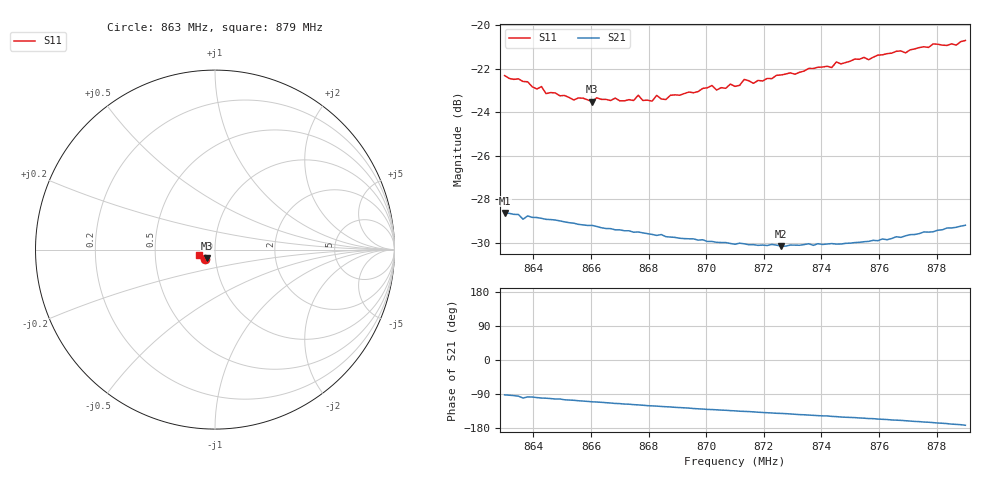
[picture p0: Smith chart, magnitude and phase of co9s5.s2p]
# HZ S RI R 50
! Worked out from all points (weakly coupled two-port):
!   101 points, 863 MHz to 879 MHz, reference 50 ohm
!   highest |S21| = -28.63 dB at 863 MHz (marker M1); lowest = -30.2 dB at 872.6 MHz (marker M2)
!   lowest |S11| = -23.5 dB at 866.04 MHz (marker M3), VSWR 1.14, Z = 45.4 - j4.43 ohm
!   |S11| at or under -10 dB: start of sweep to end of sweep
!   S12 and S22 are empty: the file has one direction only
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8.63e8  -0.0562 -0.0521  -0.00131 -0.037  0 0  0 0
8.6412e8  -0.0513 -0.0496  -0.00574 -0.0357  0 0  0 0
8.6428e8  -0.0511 -0.0512  -0.0065 -0.0354  0 0  0 0
8.6444e8  -0.0497 -0.0488  -0.00671 -0.0351  0 0  0 0
8.6572e8  -0.0468 -0.0493  -0.0109 -0.033  0 0  0 0
8.6604e8  -0.0458 -0.0485  -0.012 -0.0325  0 0  0 0
8.662e8  -0.0472 -0.0491  -0.0123 -0.0322  0 0  0 0
8.6748e8  -0.0456 -0.0493  -0.0156 -0.0296  0 0  0 0
8.6764e8  -0.0469 -0.0507  -0.016 -0.0294  0 0  0 0
8.678e8  -0.0448 -0.05  -0.0163 -0.029  0 0  0 0
8.6812e8  -0.045 -0.0495  -0.0171 -0.0283  0 0  0 0
8.6828e8  -0.0458 -0.0516  -0.0172 -0.028  0 0  0 0
8.6844e8  -0.0456 -0.05  -0.0178 -0.0278  0 0  0 0
8.702e8  -0.0495 -0.0533  -0.0208 -0.0241  0 0  0 0
8.7036e8  -0.0484 -0.0519  -0.021 -0.0237  0 0  0 0
8.71e8  -0.0511 -0.0513  -0.0218 -0.0225  0 0  0 0
8.7132e8  -0.0532 -0.053  -0.0224 -0.022  0 0  0 0
8.7164e8  -0.0519 -0.0522  -0.0228 -0.0214  0 0  0 0
8.726e8  -0.0558 -0.0529  -0.0241 -0.0195  0 0  0 0
8.7372e8  -0.0603 -0.0519  -0.0259 -0.0174  0 0  0 0
8.7644e8  -0.074 -0.0445  -0.03 -0.0119  0 0  0 0
8.79e8  -0.0872 -0.0302  -0.0343 -0.00471  0 0  0 0
